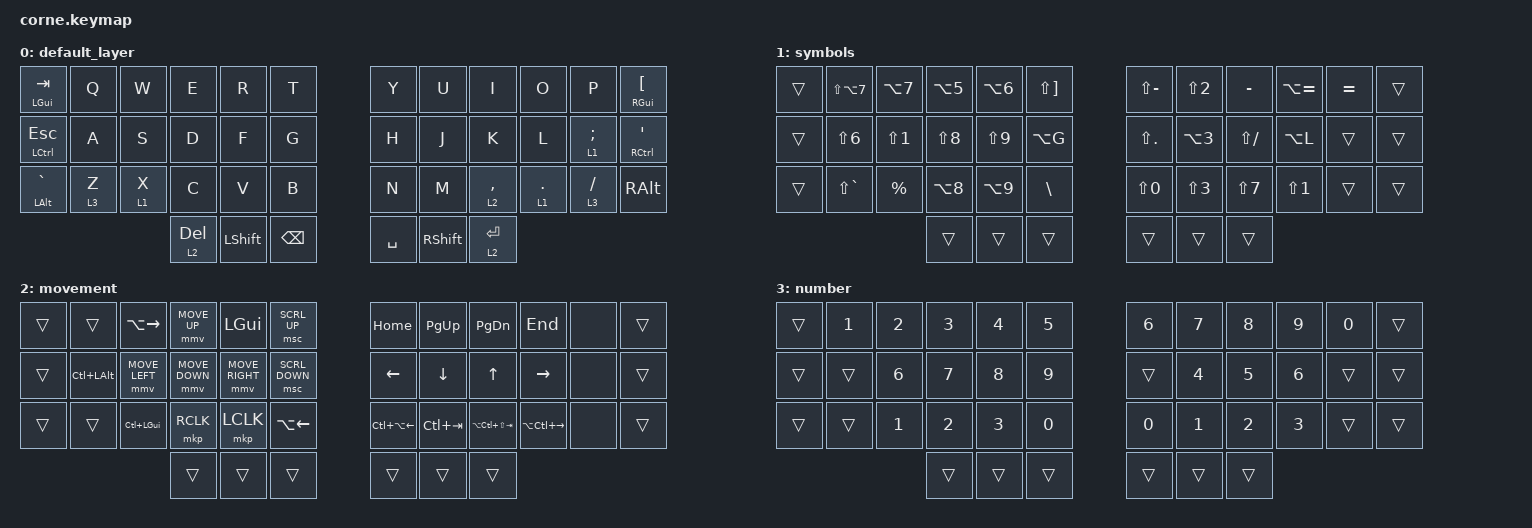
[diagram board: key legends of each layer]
/*
 * Copyright (c) 2020 The ZMK Contributors
 *
 * SPDX-License-Identifier: MIT
 */

#include <behaviors.dtsi>
#include <dt-bindings/zmk/keys.h>
#include <dt-bindings/zmk/pointing.h>

/ {
    keymap {
        compatible = "zmk,keymap";

        default_layer {
            // -----------------------------------------------------------------------------------------
            // |  TAB |  Q  |  W  |  E  |  R  |  T  |   |  Y  |  U   |  I  |  O  |  P  | BSPC |
            // | CTRL |  A  |  S  |  D  |  F  |  G  |   |  H  |  J   |  K  |  L  |  ;  |  '   |
            // | SHFT |  Z  |  X  |  C  |  V  |  B  |   |  N  |  M   |  ,  |  .  |  /  | ESC  |
            //                    | GUI | LWR | SPC |   | ENT | RSE  | ALT |

            bindings = <
&mt LEFT_GUI TAB    &kp Q    &kp W    &kp E         &kp R           &kp T            &kp Y      &kp U            &kp I        &kp O         &kp P            &mt RGUI LEFT_BRACKET
&mt LCTRL ESC       &kp A    &kp S    &kp D         &kp F           &kp G            &kp H      &kp J            &kp K        &kp L         &lt 1 SEMICOLON  &mt RCTRL SQT
&mt LEFT_ALT GRAVE  &lt 3 Z  &lt 1 X  &kp C         &kp V           &kp B            &kp N      &kp M            &lt 2 COMMA  &lt 1 PERIOD  &lt 3 SLASH      &kp RIGHT_ALT
                                      &lt 2 DELETE  &kp LEFT_SHIFT  &kp BACKSPACE    &kp SPACE  &kp RIGHT_SHIFT  &lt 2 ENTER
            >;
        };

        symbols {
            // -----------------------------------------------------------------------------------------
            // |  TAB |  1  |  2  |  3  |  4  |  5  |   |  6  |  7  |  8  |  9  |  0  | BSPC |
            // | BTCLR| BT1 | BT2 | BT3 | BT4 | BT5 |   | LFT | DWN |  UP | RGT |     |      |
            // | SHFT |     |     |     |     |     |   |     |     |     |     |     |      |
            //                    | GUI |     | SPC |   | ENT |     | ALT |

            bindings = <
&trans  &kp LS(LA(NUMBER_7))  &kp LA(NUMBER_7)  &kp LA(NUMBER_5)  &kp LA(N6)        &kp LS(RIGHT_BRACKET)    &kp LS(MINUS)     &kp LS(NUMBER_2)  &kp MINUS         &kp LA(EQUAL)     &kp EQUAL  &trans
&trans  &kp LS(NUMBER_6)      &kp LS(NUMBER_1)  &kp LS(NUMBER_8)  &kp LS(NUMBER_9)  &kp LA(G)                &kp LS(DOT)       &kp LA(NUMBER_3)  &kp LS(SLASH)     &kp LA(L)         &trans     &trans
&trans  &kp LS(GRAVE)         &kp PERCENT       &kp LA(NUMBER_8)  &kp LA(NUMBER_9)  &kp BSLH                 &kp LS(NUMBER_0)  &kp LS(NUMBER_3)  &kp LS(NUMBER_7)  &kp LS(NUMBER_1)  &trans     &trans
                                                &trans            &trans            &trans                   &trans            &trans            &trans
            >;
        };

        movement {
            // -----------------------------------------------------------------------------------------
            // |  TAB |  !  |  @  |  #  |  $  |  %  |   |  ^  |  &  |  *  |  (  |  )  | BSPC |
            // | CTRL |     |     |     |     |     |   |  -  |  =  |  [  |  ]  |  \  |  `   |
            // | SHFT |     |     |     |     |     |   |  _  |  +  |  {  |  }  | "|" |  ~   |
            //                    | GUI |     | SPC |   | ENT |     | ALT |

            bindings = <
&trans  &trans            &kp LA(RIGHT)     &mmv MOVE_UP    &kp LEFT_GUI     &msc SCRL_UP          &kp HOME                &kp PAGE_UP     &kp PAGE_DOWN        &kp END            &none  &trans
&trans  &kp LC(LEFT_ALT)  &mmv MOVE_LEFT    &mmv MOVE_DOWN  &mmv MOVE_RIGHT  &msc SCRL_DOWN        &kp LEFT                &kp DOWN_ARROW  &kp UP_ARROW         &kp RIGHT          &none  &trans
&trans  &trans            &kp LC(LEFT_GUI)  &mkp RCLK       &mkp LCLK        &kp LA(LEFT_ARROW)    &kp LC(LA(LEFT_ARROW))  &kp LC(TAB)     &kp LA(LC(LS(TAB)))  &kp LA(LC(RIGHT))  &none  &trans
                                            &trans          &trans           &trans                &trans                  &trans          &trans
            >;
        };

        number {
            bindings = <
&trans  &kp N1  &kp N2  &kp N3  &kp N4  &kp N5    &kp N6  &kp N7  &kp N8  &kp N9  &kp N0  &trans
&trans  &trans  &kp N6  &kp N7  &kp N8  &kp N9    &trans  &kp N4  &kp N5  &kp N6  &trans  &trans
&trans  &trans  &kp N1  &kp N2  &kp N3  &kp N0    &kp N0  &kp N1  &kp N2  &kp N3  &trans  &trans
                        &trans  &trans  &trans    &trans  &trans  &trans
            >;
        };
    };
};
